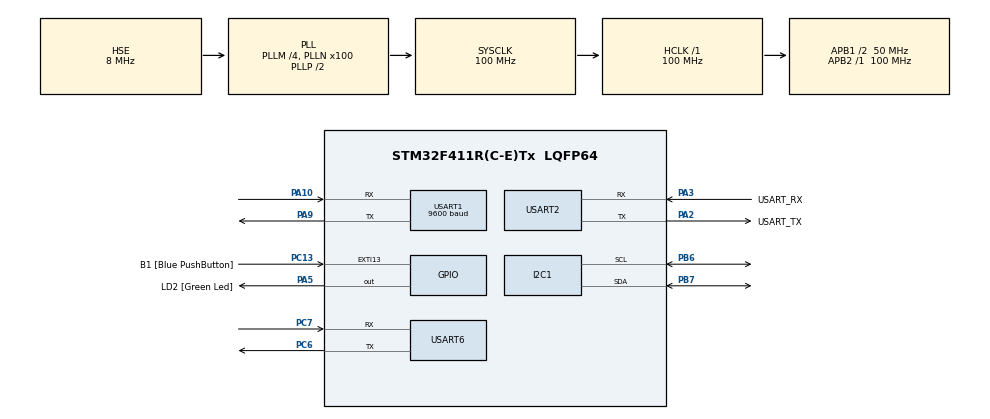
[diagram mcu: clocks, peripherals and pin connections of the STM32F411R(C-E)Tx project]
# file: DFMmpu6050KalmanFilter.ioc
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I2C1.I2C_Mode=I2C_Fast
Mcu.Family=STM32F4
Mcu.Name=STM32F411R(C-E)Tx
Mcu.Package=LQFP64
NVIC.PriorityGroup=NVIC_PRIORITYGROUP_0
NVIC.USART1_IRQn=true\:0\:0\:false\:false\:true\:true\:true
NVIC.USART6_IRQn=true\:0\:0\:false\:false\:true\:true\:true
PA10.Mode=Asynchronous
PA10.Signal=USART1_RX
PA13.GPIO_Label=TMS
PA13.Mode=Serial_Wire
PA13.Signal=SYS_JTMS-SWDIO
PA14.GPIO_Label=TCK
PA14.Mode=Serial_Wire
PA14.Signal=SYS_JTCK-SWCLK
PA2.GPIO_Label=USART_TX
PA2.Mode=Asynchronous
PA2.Signal=USART2_TX
PA3.GPIO_Label=USART_RX
PA3.Mode=Asynchronous
PA3.Signal=USART2_RX
PA5.GPIO_Label=LD2 [Green Led]
PA5.Signal=GPIO_Output
PA9.Mode=Asynchronous
PA9.Signal=USART1_TX
PB3.GPIO_Label=SWO
PB3.Signal=SYS_JTDO-SWO
PB6.Mode=I2C
PB6.Signal=I2C1_SCL
PB7.Mode=I2C
PB7.Signal=I2C1_SDA
PC13-ANTI_TAMP.GPIO_Label=B1 [Blue PushButton]
PC13-ANTI_TAMP.GPIO_ModeDefaultEXTI=GPIO_MODE_IT_FALLING
PC13-ANTI_TAMP.Signal=GPXTI13
PC14-OSC32_IN.Mode=LSE-External-Oscillator
PC14-OSC32_IN.Signal=RCC_OSC32_IN
PC15-OSC32_OUT.Mode=LSE-External-Oscillator
PC15-OSC32_OUT.Signal=RCC_OSC32_OUT
PC6.Mode=Asynchronous
PC6.Signal=USART6_TX
PC7.Mode=Asynchronous
PC7.Signal=USART6_RX
PH0\ -\ OSC_IN.Mode=HSE-External-Clock-Source
PH0\ -\ OSC_IN.Signal=RCC_OSC_IN
PH1\ -\ OSC_OUT.Mode=HSE-External-Clock-Source
PH1\ -\ OSC_OUT.Signal=RCC_OSC_OUT
ProjectManager.HeapSize=0x200
ProjectManager.StackSize=0x400
ProjectManager.TargetToolchain=STM32CubeIDE
RCC.48MHZClocksFreq_Value=50000000
RCC.AHBFreq_Value=100000000
RCC.APB1CLKDivider=RCC_HCLK_DIV2
RCC.APB1Freq_Value=50000000
RCC.APB1TimFreq_Value=100000000
RCC.APB2Freq_Value=100000000
RCC.APB2TimFreq_Value=100000000
RCC.CortexFreq_Value=100000000
RCC.FLatency-AdvancedSettings=FLASH_LATENCY_3
RCC.HCLKFreq_Value=100000000
RCC.HSE_VALUE=8000000
RCC.HSI_VALUE=16000000
RCC.PLLM=4
RCC.PLLN=100
RCC.PLLSourceVirtual=RCC_PLLSOURCE_HSE
RCC.SYSCLKFreq_VALUE=100000000
RCC.SYSCLKSource=RCC_SYSCLKSOURCE_PLLCLK
RCC.VCOOutputFreq_Value=200000000
USART1.BaudRate=9600
USART1.VirtualMode=VM_ASYNC
USART2.VirtualMode=VM_ASYNC
USART6.VirtualMode=VM_ASYNC
board=NUCLEO-F411RE

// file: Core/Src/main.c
/* USER CODE BEGIN Header */
/**
  ******************************************************************************
  * @file           : main.c
  * @brief          : Main program body
  ******************************************************************************
  * @attention
  *
  * <h2><center>&copy; Copyright (c) 2021 STMicroelectronics.
  * All rights reserved.</center></h2>
  *
  * This software component is licensed by ST under BSD 3-Clause license,
  * the "License"; You may not use this file except in compliance with the
  * License. You may obtain a copy of the License at:
  *                        opensource.org/licenses/BSD-3-Clause
  *
  ******************************************************************************
  */
/* USER CODE END Header */
#include "main.h"
#include "i2c.h"
#include "usart.h"
#include "gpio.h"

/* USER CODE BEGIN Includes */
#include "stdio.h"
#include "mpu6050.h"
/* USER CODE END Includes */

/* USER CODE BEGIN PV */
MPU6050_t MPU6050;
/* USER CODE END PV */

void SystemClock_Config(void);

/* USER CODE BEGIN 0 */
int __io_putchar(int ch)
{
	HAL_UART_Transmit(&huart2, (uint8_t *) &ch, 1, 100);
	return ch;
}
/* USER CODE END 0 */

int main(void)
{

  /* MCU Configuration--------------------------------------------------------*/

  /* Reset of all peripherals, Initializes the Flash interface and the Systick. */
  HAL_Init();

  /* Configure the system clock */
  SystemClock_Config();

  /* Initialize all configured peripherals */
  MX_GPIO_Init();
  MX_USART2_UART_Init();
  MX_I2C1_Init();
  MX_USART1_UART_Init();
  MX_USART6_UART_Init();
  /* USER CODE BEGIN 2 */
  while (MPU6050_Init(&hi2c1) == 1);
  /* USER CODE END 2 */

  /* Infinite loop */
  /* USER CODE BEGIN WHILE */
  while (1)
  {
	  MPU6050_Read_All(&hi2c1, &MPU6050);
	  HAL_Delay(1);
//	  printf("%.2f", MPU6050.KalmanAngleX);
//	  printf("\t");
//	  printf("%.2f", MPU6050.KalmanAngleY);
//	  printf("\t");
//	  printf("%.2f", MPU6050.Gz);
//	  printf("\t");
	  printf("%.2f", MPU6050.Ax);
	  printf("\t");
	  printf("%.2f", MPU6050.Ay);
	  printf("\t");
	  printf("%.2f", MPU6050.Az);
	  printf("\r\n");
	  HAL_Delay(10);
    /* USER CODE END WHILE */

  }
}

void SystemClock_Config(void)
{
  RCC_OscInitTypeDef RCC_OscInitStruct = {0};
  RCC_ClkInitTypeDef RCC_ClkInitStruct = {0};

  /** Configure the main internal regulator output voltage
  */
  __HAL_RCC_PWR_CLK_ENABLE();
  __HAL_PWR_VOLTAGESCALING_CONFIG(PWR_REGULATOR_VOLTAGE_SCALE1);
  /** Initializes the RCC Oscillators according to the specified parameters
  * in the RCC_OscInitTypeDef structure.
  */
  RCC_OscInitStruct.OscillatorType = RCC_OSCILLATORTYPE_HSE;
  RCC_OscInitStruct.HSEState = RCC_HSE_BYPASS;
  RCC_OscInitStruct.PLL.PLLState = RCC_PLL_ON;
  RCC_OscInitStruct.PLL.PLLSource = RCC_PLLSOURCE_HSE;
  RCC_OscInitStruct.PLL.PLLM = 4;
  RCC_OscInitStruct.PLL.PLLN = 100;
  RCC_OscInitStruct.PLL.PLLP = RCC_PLLP_DIV2;
  RCC_OscInitStruct.PLL.PLLQ = 4;
  if (HAL_RCC_OscConfig(&RCC_OscInitStruct) != HAL_OK)
  {
    Error_Handler();
  }
  /** Initializes the CPU, AHB and APB buses clocks
  */
  RCC_ClkInitStruct.ClockType = RCC_CLOCKTYPE_HCLK|RCC_CLOCKTYPE_SYSCLK
                              |RCC_CLOCKTYPE_PCLK1|RCC_CLOCKTYPE_PCLK2;
  RCC_ClkInitStruct.SYSCLKSource = RCC_SYSCLKSOURCE_PLLCLK;
  RCC_ClkInitStruct.AHBCLKDivider = RCC_SYSCLK_DIV1;
  RCC_ClkInitStruct.APB1CLKDivider = RCC_HCLK_DIV2;
  RCC_ClkInitStruct.APB2CLKDivider = RCC_HCLK_DIV1;

  if (HAL_RCC_ClockConfig(&RCC_ClkInitStruct, FLASH_LATENCY_3) != HAL_OK)
  {
    Error_Handler();
  }
}

void Error_Handler(void)
{
  __disable_irq();
  while (1)
  {
  }
}

/************************ (C) COPYRIGHT STMicroelectronics *****END OF FILE****/
